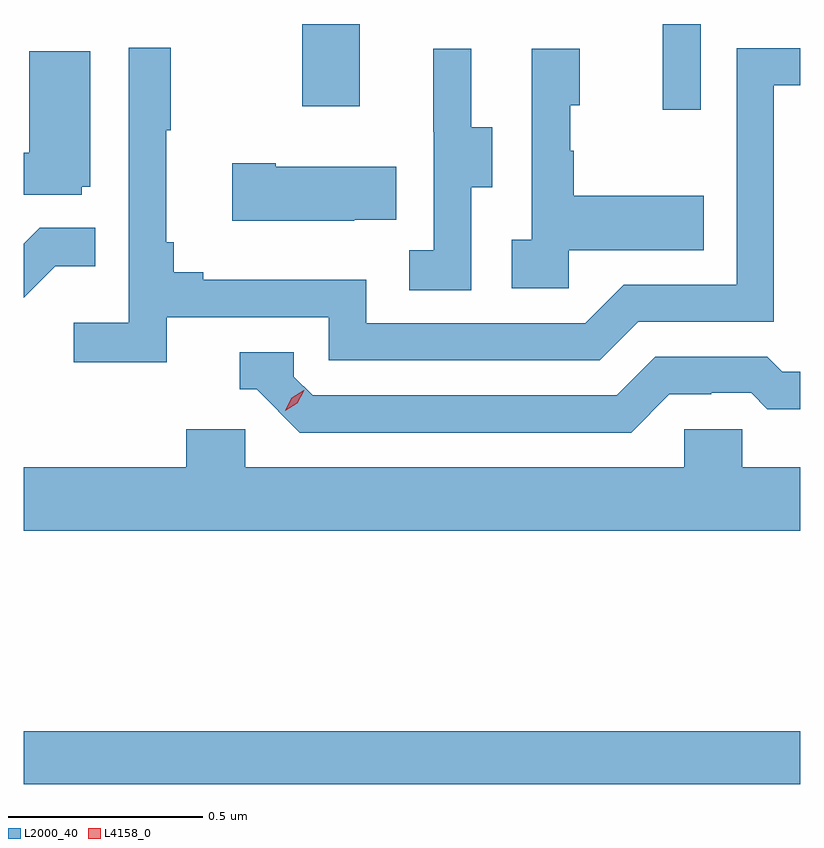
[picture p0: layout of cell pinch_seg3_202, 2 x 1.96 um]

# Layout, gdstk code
import gdstk
lib = gdstk.Library(unit=1e-6, precision=1e-09)
def R(c, l, rs):  # rectangles x0, y0, x1, y1
    for r in rs: c.add(gdstk.rectangle(r[:2], r[2:], *l))
def P(c, l, *ps):  # polygons
    for p in ps: c.add(gdstk.Polygon(p, *l))
L2000_40 = (2000, 40)
L4158_0 = (4158, 0)

pinch_seg3_202 = lib.new_cell('pinch_seg3_202')
R(pinch_seg3_202, L2000_40, [(971.856,745.552,973.856,745.688), (973.502,747.288,973.599,747.509), (972.574,747.297,972.721,747.509)])
P(pinch_seg3_202, L2000_40, [(972.224,746.754),(972.642,746.754),(972.642,746.643),(973.339,746.643),(973.438,746.742),(973.788,746.742),(973.788,747.351),(973.856,747.351),(973.856,747.447),(973.692,747.447),(973.692,746.838),(973.401,746.838),(973.302,746.739),(972.738,746.739),(972.738,746.851),(972.319,746.851),(972.319,746.87),(972.242,746.87),(972.242,746.947),(972.223,746.947),(972.223,747.235),(972.235,747.235),(972.235,747.448),(972.126,747.448),(972.126,746.74),(971.985,746.74),(971.985,746.638),(972.224,746.638)],
  [(973.008,747.088),(973.063,747.088),(973.063,747.243),(973.009,747.243),(973.009,747.445),(972.911,747.445),(972.911,747.231),(972.912,747.231),(972.912,746.927),(972.849,746.927),(972.849,746.824),(973.008,746.824)],
  [(973.26,746.927),(973.607,746.927),(973.607,747.067),(973.273,747.067),(973.273,747.182),(973.263,747.182),(973.263,747.3),(973.288,747.3),(973.288,747.445),(973.164,747.445),(973.164,746.954),(973.113,746.954),(973.113,746.829),(973.26,746.829)],
  [(972.006,747.09),(972.028,747.09),(972.028,747.439),(971.87,747.439),(971.87,747.178),(971.856,747.178),(971.856,747.069),(972.006,747.069)],
  [(972.707,747.005),(972.815,747.005),(972.815,747.142),(972.505,747.142),(972.505,747.15),(972.393,747.15),(972.393,747.002),(972.707,747.002)],
  [(971.937,746.885),(972.041,746.885),(972.041,746.984),(971.897,746.984),(971.856,746.943),(971.856,746.804)],
  [(973.519,746.556),(973.626,746.556),(973.626,746.559),(973.729,746.559),(973.771,746.517),(973.856,746.517),(973.856,746.613),(973.81,746.613),(973.771,746.652),(973.482,746.652),(973.383,746.553),(972.6,746.553),(972.552,746.601),(972.552,746.664),(972.413,746.664),(972.413,746.568),(972.456,746.568),(972.567,746.457),(973.42,746.457)],
  [(973.856,746.368),(973.707,746.368),(973.707,746.466),(973.557,746.466),(973.557,746.368),(972.426,746.368),(972.426,746.466),(972.275,746.466),(972.275,746.368),(971.856,746.368),(971.856,746.204),(973.856,746.204)])
P(pinch_seg3_202, L4158_0, [(972.53,746.513),(972.53,746.514),(972.546,746.546),(972.577,746.566),(972.578,746.566),(972.578,746.566),(972.561,746.533),(972.53,746.513)])

lib.write_gds('pinch_seg3_202.gds')
